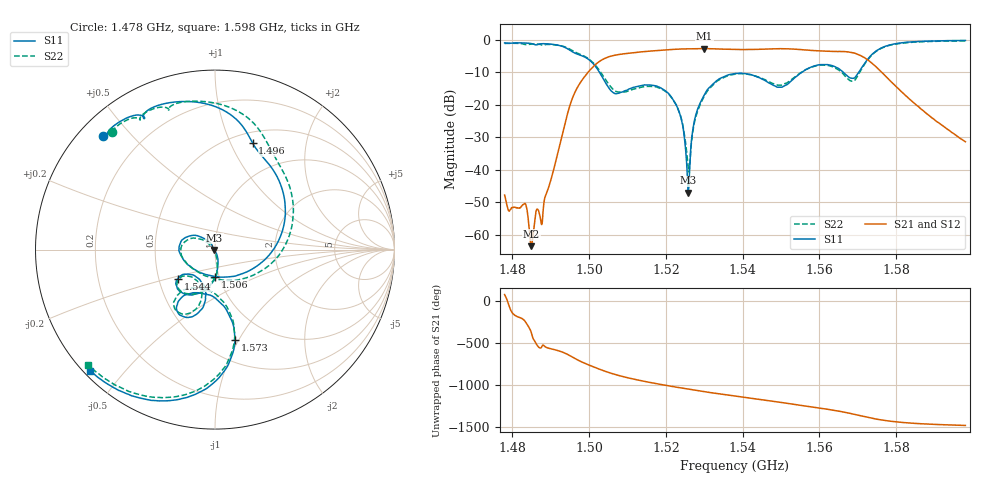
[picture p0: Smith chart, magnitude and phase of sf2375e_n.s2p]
!Agilent Technologies,E5071C,MY46104547,A.08.12
!Date: Tue Nov 21 09:32:10 2017
!Data & Calibration Information:
!Freq	S11:SOLT2(ON)	S21:SOLT2(ON)	S12:SOLT2(ON)	S22:SOLT2(ON)
# Hz S dB R 50
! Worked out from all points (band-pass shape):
!   1601 points, 1.478 GHz to 1.598 GHz, reference 50 ohm
!   highest |S21| = -2.77 dB at 1.53 GHz (marker M1); lowest = -63.5 dB at 1.485 GHz (marker M2)
!   |S21| within 3 dB of the highest: 1.504 GHz to 1.572 GHz (67.85 MHz wide, 4.41 % of centre)
!   lowest |S11| = -47.1 dB at 1.526 GHz (marker M3), VSWR 1.01, Z = 49.6 - j0.233 ohm
!   |S11| at or under -10 dB: 1.503 GHz to 1.555 GHz (52.82 MHz wide, 3.45 % of centre); 1.566156 GHz to 1.570297 GHz (4.14 MHz wide, 0.264 % of centre)
!   |S22| runs from -40.8 to -0.4 dB; largest |S21 - S12| = 0.00093
!   S11 on the Smith chart (normalised r, x): 1.478 GHz: 0.07, +0.42; 1.496 GHz: 0.62, +1.21; 1.506 GHz: 0.96, -0.29; 1.544 GHz: 0.63, -0.22; 1.573 GHz: 0.71, -0.96; 1.598 GHz: 0.02, -0.41
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1.478e9  -1.01 134.6  -47.84 71.6  -47.85 71.6  -1.20 131.3
1.483325e9  -1.06 124.9  -50.40 115.0  -50.41 115.0  -1.51 120.0
1.484975e9  -1.24 120.1  -63.55 -24.9  -63.72 -26.0  -1.36 117.7
1.48775e9  -1.27 114.5  -56.70 -179.0  -56.86 -179.8  -1.70 108.3
1.496075e9  -4.03 70.5  -16.83 38.9  -16.86 38.9  -3.67 63.0
1.498025e9  -4.93 58.9  -12.71 -6.5  -12.73 -6.5  -4.72 49.8
1.502825e9  -10.29 -5.1  -6.62 -96.2  -6.62 -96.1  -9.71 -12.7
1.5065e9  -16.48 -89.8  -4.87 -152.7  -4.86 -152.7  -15.54 -83.7
1.511225e9  -14.83 -158.6  -4.08 152.2  -4.07 152.2  -15.40 -147.9
1.51805e9  -14.54 162.1  -3.35 90.2  -3.35 90.2  -14.85 169.7
1.523375e9  -22.05 132.9  -2.94 48.0  -2.94 48.0  -21.96 140.6
1.52585e9  -47.10 -147.8  -2.84 29.4  -2.84 29.4  -39.71 -168.1
1.5275e9  -24.56 -73.8  -2.79 17.2  -2.79 17.2  -25.11 -78.9
1.53005e9  -16.93 -86.5  -2.77 -0.9  -2.77 -0.9  -17.27 -86.7
1.538e9  -10.46 -125.1  -3.04 -52.9  -3.04 -52.8  -10.63 -123.9
1.544075e9  -11.60 -142.0  -3.00 -89.9  -3.00 -89.8  -11.51 -140.4
1.55e9  -14.66 -121.3  -2.81 -128.2  -2.81 -128.1  -14.03 -123.0
1.558025e9  -8.37 -106.9  -3.33 177.9  -3.34 177.9  -8.45 -111.3
1.56725e9  -11.15 -118.6  -3.78 109.0  -3.78 109.0  -11.90 -122.1
1.572725e9  -5.79 -77.5  -6.36 52.9  -6.37 52.9  -5.96 -77.4
1.57805e9  -1.73 -98.4  -12.26 11.1  -12.26 11.2  -1.84 -99.7
1.598e9  -0.27 -135.8  -31.44 -41.4  -31.42 -41.2  -0.40 -137.8
